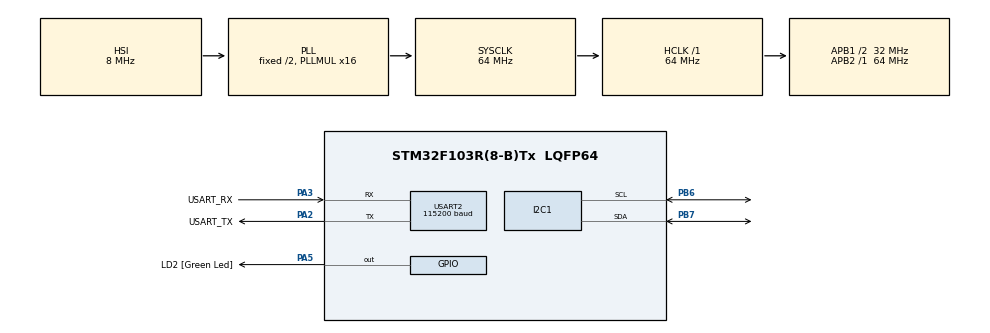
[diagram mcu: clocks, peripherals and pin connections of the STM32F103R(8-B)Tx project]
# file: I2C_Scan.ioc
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Mcu.Family=STM32F1
Mcu.Name=STM32F103R(8-B)Tx
Mcu.Package=LQFP64
NVIC.PriorityGroup=NVIC_PRIORITYGROUP_4
PA13.GPIO_Label=TMS
PA13.Mode=Serial_Wire
PA13.Signal=SYS_JTMS-SWDIO
PA14.GPIO_Label=TCK
PA14.Mode=Serial_Wire
PA14.Signal=SYS_JTCK-SWCLK
PA2.GPIO_Label=USART_TX
PA2.GPIO_Mode=GPIO_MODE_AF_PP
PA2.GPIO_PuPd=GPIO_NOPULL
PA2.GPIO_Speed=GPIO_SPEED_FREQ_LOW
PA2.Mode=Asynchronous
PA2.Signal=USART2_TX
PA3.GPIO_Label=USART_RX
PA3.GPIO_PuPd=GPIO_NOPULL
PA3.GPIO_Speed=GPIO_SPEED_FREQ_LOW
PA3.Mode=Asynchronous
PA3.Signal=USART2_RX
PA5.GPIO_Label=LD2 [Green Led]
PA5.GPIO_ModeDefaultOutputPP=GPIO_MODE_OUTPUT_PP
PA5.GPIO_PuPd=GPIO_NOPULL
PA5.GPIO_Speed=GPIO_SPEED_FREQ_LOW
PA5.Signal=GPIO_Output
PB3.GPIO_Label=SWO
PB3.Signal=SYS_JTDO-TRACESWO
PB6.Mode=I2C
PB6.Signal=I2C1_SCL
PB7.Mode=I2C
PB7.Signal=I2C1_SDA
PC14-OSC32_IN.Mode=LSE-External-Oscillator
PC14-OSC32_IN.Signal=RCC_OSC32_IN
PC15-OSC32_OUT.Mode=LSE-External-Oscillator
PC15-OSC32_OUT.Signal=RCC_OSC32_OUT
PD0-OSC_IN.Mode=HSE-External-Clock-Source
PD0-OSC_IN.Signal=RCC_OSC_IN
PD1-OSC_OUT.Mode=HSE-External-Clock-Source
PD1-OSC_OUT.Signal=RCC_OSC_OUT
ProjectManager.HeapSize=0x200
ProjectManager.StackSize=0x400
ProjectManager.TargetToolchain=STM32CubeIDE
RCC.AHBFreq_Value=64000000
RCC.APB1CLKDivider=RCC_HCLK_DIV2
RCC.APB1Freq_Value=32000000
RCC.APB1TimFreq_Value=64000000
RCC.APB2Freq_Value=64000000
RCC.APB2TimFreq_Value=64000000
RCC.HCLKFreq_Value=64000000
RCC.PLLMUL=RCC_PLL_MUL16
RCC.RTCClockSelection=RCC_RTCCLKSOURCE_LSE
RCC.SYSCLKFreq_VALUE=64000000
RCC.SYSCLKSource=RCC_SYSCLKSOURCE_PLLCLK
RCC.USBFreq_Value=64000000
USART2.BaudRate=115200
USART2.VirtualMode=VM_ASYNC
board=NUCLEO-F103RB

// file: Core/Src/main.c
/* USER CODE BEGIN Header */
/**
 ******************************************************************************
 * @file           : main.c
 * @brief          : Main program body
 ******************************************************************************
 * @attention
 *
 * Copyright (c) 2026 STMicroelectronics.
 * All rights reserved.
 *
 * This software is licensed under terms that can be found in the LICENSE file
 * in the root directory of this software component.
 * If no LICENSE file comes with this software, it is provided AS-IS.
 *
 ******************************************************************************
 */
/**
 * 02_I2C_Scan_HAL_c  —  [계층: HAL]  I2C1 버스 스캐너 (연결된 슬레이브 주소 찾기)
 *
 * 동작
 *   - 7비트 주소 0x08~0x77 을 하나씩 "주소 + 쓰기" 로 호출하고, 슬레이브가 ACK 하면 그 주소를 출력한다.
 *   - 2초마다 다시 스캔하여 결과를 UART(115200)로 출력. 흔한 장치는 이름을 함께 표시.
 *
 * 배선 (Nucleo-F103RB, 리맵 없는 기본 핀)
 *   I2C1_SCL = PB6 ('D10'),  I2C1_SDA = PB7 (Morpho CN7 핀21)
 *   SCL/SDA 각각 4.7kΩ 풀업(3.3V) 필요 — 대부분의 모듈(PCF8574, MPU6050 등)에는 이미 장착
 *
 * 하드웨어 대응 (RM0008 26장)
 *   I2C1->CR2.FREQ = APB1 클럭(MHz), I2C1->CCR/TRISE = 100kHz 표준 모드 타이밍
 *   주소 호출: CR1.START -> DR = (addr<<1 | 0) -> SR1.ADDR(ACK) 또는 SR1.AF(NACK) -> CR1.STOP
 *   HAL_I2C_IsDeviceReady() 가 위 절차를 수행한다 (HAL 주소 인자는 "7비트 주소를 1비트 왼쪽 시프트한 값").
 *
 * 인터럽트를 사용하지 않는다 (폴링). 버스에 풀업이 없으면 BUSY 상태에 걸려 결과가 나오지 않는다.
 */
/* USER CODE END Header */
#include "main.h"

/* USER CODE BEGIN Includes */
#include <stdio.h>
#include <string.h>
/* USER CODE END Includes */

I2C_HandleTypeDef hi2c1;
UART_HandleTypeDef huart2;

void SystemClock_Config(void);
static void MX_GPIO_Init(void);
static void MX_I2C1_Init(void);
static void MX_USART2_UART_Init(void);

/* USER CODE BEGIN 0 */
static const char *guess_name(uint8_t a)
{
    switch (a)
    {
    case 0x20: case 0x21: case 0x22: case 0x23: case 0x24: case 0x25: case 0x26:
    case 0x27: return "PCF8574 (A=000..111) / LCD 백팩";
    case 0x38: case 0x39: case 0x3A: case 0x3B: return "PCF8574A";
    case 0x3C: case 0x3D: return "SSD1306 OLED";
    case 0x3F: return "PCF8574A LCD 백팩";
    case 0x48: return "ADS1115 / TMP102";
    case 0x50: case 0x57: return "AT24Cxx EEPROM";
    case 0x68: return "MPU6050 / DS1307 / DS3231";
    case 0x76: case 0x77: return "BMP280 / BME280";
    default: return "";
    }
}
/* USER CODE END 0 */

int main(void)
{

  /* USER CODE BEGIN 1 */
    char msg[80];
  /* USER CODE END 1 */

  /* MCU Configuration--------------------------------------------------------*/

  /* Reset of all peripherals, Initializes the Flash interface and the Systick. */
  HAL_Init();

  /* Configure the system clock */
  SystemClock_Config();

  /* Initialize all configured peripherals */
  MX_GPIO_Init();
  MX_I2C1_Init();
  MX_USART2_UART_Init();

  /* Infinite loop */
  while (1)
  {

    /* USER CODE BEGIN 3 */
        const char *h = "\r\n--- I2C1 scan (0x08..0x77) ---\r\n";
        HAL_UART_Transmit(&huart2, (uint8_t *)h, (uint16_t)strlen(h), 100);

        int found = 0;
        for (uint8_t addr = 0x08; addr <= 0x77; addr++)
        {
            /* 1회 시도, 타임아웃 10ms. HAL_OK = ACK 수신 */
            if (HAL_I2C_IsDeviceReady(&hi2c1, (uint16_t)(addr << 1), 1, 10) == HAL_OK)
            {
                int n = snprintf(msg, sizeof msg, "found 0x%02X  %s\r\n", addr, guess_name(addr));
                HAL_UART_Transmit(&huart2, (uint8_t *)msg, (uint16_t)n, 100);
                found++;
            }
        }
        int n = snprintf(msg, sizeof msg, "%d device(s)\r\n", found);
        HAL_UART_Transmit(&huart2, (uint8_t *)msg, (uint16_t)n, 100);
        HAL_Delay(2000);
  }
  /* USER CODE END 3 */
}

void SystemClock_Config(void)
{
  RCC_OscInitTypeDef RCC_OscInitStruct = {0};
  RCC_ClkInitTypeDef RCC_ClkInitStruct = {0};

  /** Initializes the RCC Oscillators according to the specified parameters
  * in the RCC_OscInitTypeDef structure.
  */
  RCC_OscInitStruct.OscillatorType = RCC_OSCILLATORTYPE_HSI;
  RCC_OscInitStruct.HSIState = RCC_HSI_ON;
  RCC_OscInitStruct.HSICalibrationValue = RCC_HSICALIBRATION_DEFAULT;
  RCC_OscInitStruct.PLL.PLLState = RCC_PLL_ON;
  RCC_OscInitStruct.PLL.PLLSource = RCC_PLLSOURCE_HSI_DIV2;
  RCC_OscInitStruct.PLL.PLLMUL = RCC_PLL_MUL16;
  if (HAL_RCC_OscConfig(&RCC_OscInitStruct) != HAL_OK)
  {
    Error_Handler();
  }

  /** Initializes the CPU, AHB and APB buses clocks
  */
  RCC_ClkInitStruct.ClockType = RCC_CLOCKTYPE_HCLK|RCC_CLOCKTYPE_SYSCLK
                              |RCC_CLOCKTYPE_PCLK1|RCC_CLOCKTYPE_PCLK2;
  RCC_ClkInitStruct.SYSCLKSource = RCC_SYSCLKSOURCE_PLLCLK;
  RCC_ClkInitStruct.AHBCLKDivider = RCC_SYSCLK_DIV1;
  RCC_ClkInitStruct.APB1CLKDivider = RCC_HCLK_DIV2;
  RCC_ClkInitStruct.APB2CLKDivider = RCC_HCLK_DIV1;

  if (HAL_RCC_ClockConfig(&RCC_ClkInitStruct, FLASH_LATENCY_2) != HAL_OK)
  {
    Error_Handler();
  }
}

static void MX_I2C1_Init(void)
{

  hi2c1.Instance = I2C1;
  hi2c1.Init.ClockSpeed = 100000;
  hi2c1.Init.DutyCycle = I2C_DUTYCYCLE_2;
  hi2c1.Init.OwnAddress1 = 0;
  hi2c1.Init.AddressingMode = I2C_ADDRESSINGMODE_7BIT;
  hi2c1.Init.DualAddressMode = I2C_DUALADDRESS_DISABLE;
  hi2c1.Init.OwnAddress2 = 0;
  hi2c1.Init.GeneralCallMode = I2C_GENERALCALL_DISABLE;
  hi2c1.Init.NoStretchMode = I2C_NOSTRETCH_DISABLE;
  if (HAL_I2C_Init(&hi2c1) != HAL_OK)
  {
    Error_Handler();
  }
  /* USER CODE BEGIN I2C1_Init 2 */
  /* HAL_I2C_Init -> (MspInit) 후 I2C1->CR2.FREQ = PCLK1(MHz), I2C1->CCR / TRISE = 100kHz 타이밍,
   * CR1.PE = 1. NoStretch/GeneralCall/DualAddress = OAR2.ENDUAL, CR1.NOSTRETCH/ENGC 비트 */
  /* USER CODE END I2C1_Init 2 */

}

static void MX_USART2_UART_Init(void)
{

  huart2.Instance = USART2;
  huart2.Init.BaudRate = 115200;
  huart2.Init.WordLength = UART_WORDLENGTH_8B;
  huart2.Init.StopBits = UART_STOPBITS_1;
  huart2.Init.Parity = UART_PARITY_NONE;
  huart2.Init.Mode = UART_MODE_TX_RX;
  huart2.Init.HwFlowCtl = UART_HWCONTROL_NONE;
  huart2.Init.OverSampling = UART_OVERSAMPLING_16;
  if (HAL_UART_Init(&huart2) != HAL_OK)
  {
    Error_Handler();
  }

}

static void MX_GPIO_Init(void)
{
  GPIO_InitTypeDef GPIO_InitStruct = {0};

  /* GPIO Ports Clock Enable */
  __HAL_RCC_GPIOC_CLK_ENABLE();
  __HAL_RCC_GPIOD_CLK_ENABLE();
  __HAL_RCC_GPIOA_CLK_ENABLE();
  __HAL_RCC_GPIOB_CLK_ENABLE();

  /*Configure GPIO pin Output Level */
  HAL_GPIO_WritePin(LD2_GPIO_Port, LD2_Pin, GPIO_PIN_RESET);

  /*Configure GPIO pin : LD2_Pin */
  GPIO_InitStruct.Pin = LD2_Pin;
  GPIO_InitStruct.Mode = GPIO_MODE_OUTPUT_PP;
  GPIO_InitStruct.Pull = GPIO_NOPULL;
  GPIO_InitStruct.Speed = GPIO_SPEED_FREQ_LOW;
  HAL_GPIO_Init(LD2_GPIO_Port, &GPIO_InitStruct);

}

void Error_Handler(void)
{
  __disable_irq();
  while (1) {
  }
}
#ifdef USE_FULL_ASSERT
/**
  * @brief  Reports the name of the source file and the source line number
  *         where the assert_param error has occurred.
  * @param  file: pointer to the source file name
  * @param  line: assert_param error line source number
  * @retval None
  */
void assert_failed(uint8_t *file, uint32_t line)
{
  /* USER CODE BEGIN 6 */
  /* User can add his own implementation to report the file name and line
     number, ex: printf("Wrong parameters value: file %s on line %d\r\n", file,
     line) */
  /* USER CODE END 6 */
}
#endif /* USE_FULL_ASSERT */
